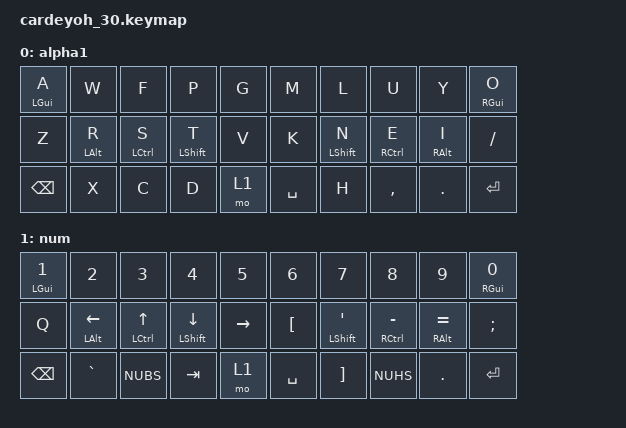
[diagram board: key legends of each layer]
#include <behaviors.dtsi>
#include <dt-bindings/zmk/bt.h>
#include <dt-bindings/zmk/keys.h>

&mt {
    tapping-term-ms = <300>;
    flavor = "tap-preferred";
};

&sl {
    release-after-ms = <350>;
};

/ {
    combos {
        compatible = "zmk,combos";
        // both thumb alts
        combo_esc {
            timeout-ms = <150>;
            key-positions = <15 16>;
            bindings = <&kp ESC>;
        };

        // right middle and ring finger
        combo_back {
            timeout-ms = <25>;
            key-positions = <4 5>;
            bindings = <&kp BSPC>;
        };
    };
};

/ {
    keymap {
        compatible = "zmk,keymap";

        alpha1 {
//     | W | F | P |            | L | U | Y |
// | A | R | S | T | G |    | M | N | E | I | O |
// | Z | X | C | D | V |    | K | H | , | . | / |
//             |mo1|bsp|    |ent|spc|
            bindings = <

&mt LGUI A &kp W &kp F &kp P &kp G    &kp M &kp L &kp U &kp Y &mt RGUI O

&kp Z &mt LALT R &mt LCTL S &mt LSHIFT T &kp V    &kp K &mt LSHIFT N &mt RCTL E &mt RALT I &kp FSLH

&kp BSPC &kp X &kp C &kp D &mo 1    &kp SPACE &kp H &kp COMMA &kp DOT &kp ENTER

            >;
        };
        
        num {
//     | 2 | 3 | 4 |            | 7 | 8 | 9 |
// | 1 | < | ^ | v | 5 |    | 6 | ' | - | = | 0 |
// | Q |grv|nub|tab| > |    | [ | ] |nuh| . | ; |
//             |   |   |    |   |   |
            bindings = <

&mt LGUI N1 &kp N2 &kp N3 &kp N4 &kp N5    &kp N6 &kp N7 &kp N8 &kp N9 &mt RGUI N0

&kp Q &mt LALT LEFT &mt LCTL UP &mt LSHIFT DOWN &kp RIGHT    &kp LBKT &mt LSHIFT SINGLE_QUOTE &mt RCTL MINUS &mt RALT EQUAL &kp SEMI

&kp BSPC &kp GRAVE &kp NUBS &kp TAB &mo 1    &kp SPACE &kp RBKT &kp NUHS &kp DOT &kp ENTER

            >;
        };
    };
};
